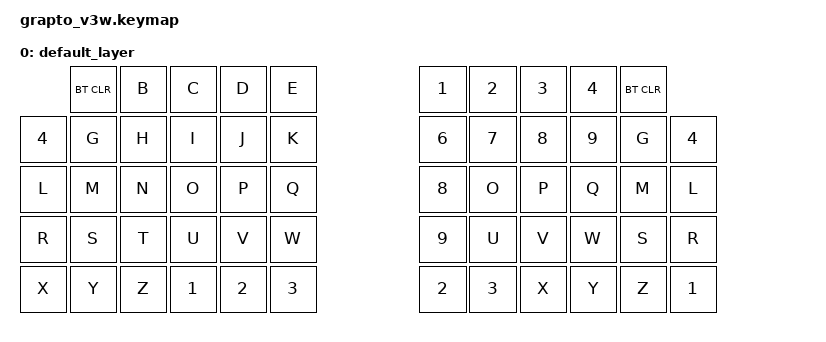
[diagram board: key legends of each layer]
/*
*
* Copyright (c) 2021 Darryl deHaan
* SPDX-License-Identifier: MIT
*
*/

#include <behaviors.dtsi>
#include <dt-bindings/zmk/keys.h>
#include <dt-bindings/zmk/bt.h>

/ {
  chosen {
    zmk,matrix_transform = &default_transform;
    //zmk,matrix_transform = &five_column_transform;
  };
};

/ {
    keymap {
        compatible = "zmk,keymap";
        
        default_layer {
//               -----------------------------------
//     --------  |  f1     | f2     | f3    | f4      | f5  |
//     | f11     |  å      | ä      |  ö    |  p      |  y  |
//     | TAB     |  a      | o      |  e    |  u      |  i  |
//     | CRTL    |  .      | q      |  j    |  k      |  x  | 
//                         | return |  esc  | esc     |  fn |  bspc  |  l alt |
// ------------------------------------------------------------------------------------------
            bindings = <
               &bt BT_CLR &kp B    &kp C   &kp D     &kp E                                   &kp N1   &kp N2  &kp N3    &kp N4 &bt BT_CLR
    &kp N4     &kp G      &kp H    &kp I   &kp J     &kp K                                   &kp N6   &kp N7  &kp N8    &kp N9 &kp G  &kp N4
    &kp L      &kp M      &kp N    &kp O   &kp P     &kp Q                                   &kp N8   &kp O   &kp P     &kp Q  &kp M    &kp L
    &kp R      &kp S      &kp T    &kp U   &kp V     &kp W                                   &kp N9   &kp U   &kp V     &kp W  &kp S    &kp R
                          &kp X    &kp Y   &kp Z     &kp N1  &kp N2 &kp N3     &kp N2 &kp N3 &kp X    &kp Y   &kp Z     &kp N1

                >; 
        };
    };
};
